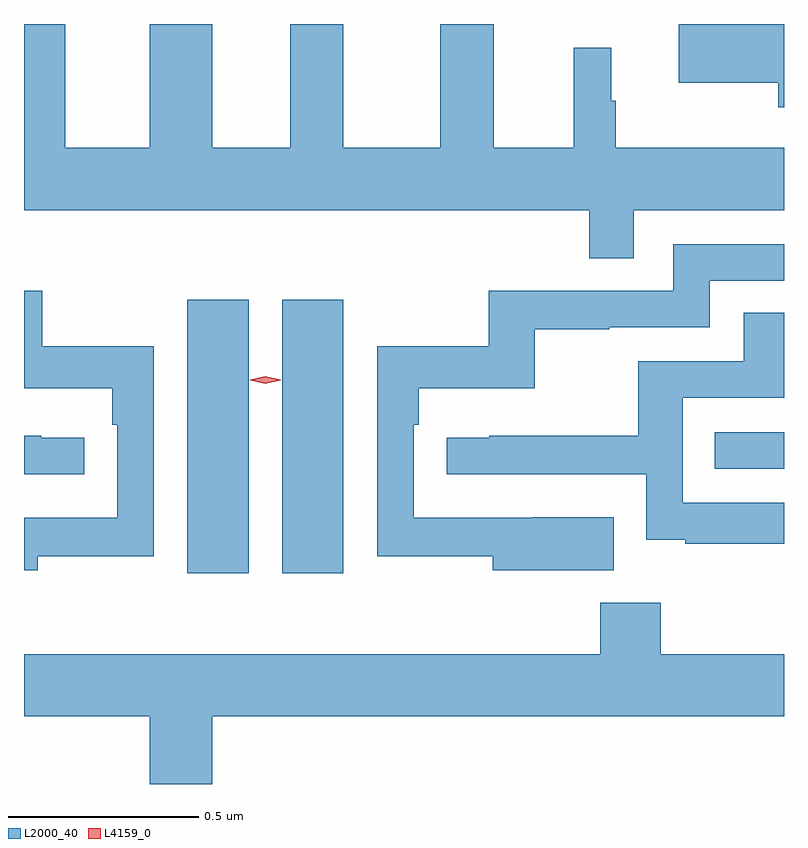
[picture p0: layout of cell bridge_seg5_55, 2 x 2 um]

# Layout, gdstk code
import gdstk
lib = gdstk.Library(unit=1e-6, precision=1e-09)
def R(c, l, rs):  # rectangles x0, y0, x1, y1
    for r in rs: c.add(gdstk.rectangle(r[:2], r[2:], *l))
def P(c, l, *ps):  # polygons
    for p in ps: c.add(gdstk.Polygon(p, *l))
L2000_40 = (2000, 40)
L4159_0 = (4159, 0)

bridge_seg5_55 = lib.new_cell('bridge_seg5_55')
R(bridge_seg5_55, L2000_40, [(836.435,835.824,836.596,836.545), (836.684,835.824,836.845,836.545), (837.823,836.1,838.005,836.196)])
P(bridge_seg5_55, L2000_40, [(837.609,836.78),(838.005,836.78),(838.005,836.944),(837.562,836.944),(837.562,837.068),(837.55,837.068),(837.55,837.208),(837.452,837.208),(837.452,836.944),(837.241,836.944),(837.241,837.27),(837.101,837.27),(837.101,836.944),(836.845,836.944),(836.845,837.27),(836.705,837.27),(836.705,836.944),(836.5,836.944),(836.5,837.27),(836.336,837.27),(836.336,836.944),(836.113,836.944),(836.113,837.27),(836.005,837.27),(836.005,836.78),(837.493,836.78),(837.493,836.653),(837.609,836.653)],
  [(838.005,837.27),(837.728,837.27),(837.728,837.116),(837.99,837.116),(837.99,837.051),(838.005,837.051)],
  [(837.557,835.972),(837.343,835.972),(837.343,835.971),(837.03,835.971),(837.03,836.216),(837.044,836.216),(837.044,836.312),(837.349,836.312),(837.349,836.467),(837.545,836.467),(837.545,836.472),(837.81,836.472),(837.81,836.595),(838.005,836.595),(838.005,836.691),(837.714,836.691),(837.714,836.568),(837.228,836.568),(837.228,836.422),(836.934,836.422),(836.934,835.87),(837.239,835.87),(837.239,835.832),(837.557,835.832)],
  [(836.041,835.87),(836.346,835.87),(836.346,836.422),(836.053,836.422),(836.053,836.568),(836.005,836.568),(836.005,836.312),(836.237,836.312),(836.237,836.216),(836.25,836.216),(836.25,835.971),(836.005,835.971),(836.005,835.832),(836.041,835.832)],
  [(838.005,836.01),(837.738,836.01),(837.738,836.286),(838.005,836.286),(838.005,836.51),(837.899,836.51),(837.899,836.382),(837.622,836.382),(837.622,836.186),(837.229,836.186),(837.229,836.181),(837.117,836.181),(837.117,836.085),(837.642,836.085),(837.642,835.913),(837.745,835.913),(837.745,835.902),(838.005,835.902)],
  [(836.164,836.181),(836.051,836.181),(836.051,836.186),(836.005,836.186),(836.005,836.085),(836.164,836.085)],
  [(836.5,835.448),(838.005,835.448),(838.005,835.612),(837.681,835.612),(837.681,835.747),(837.521,835.747),(837.521,835.612),(836.005,835.612),(836.005,835.448),(836.336,835.448),(836.336,835.27),(836.5,835.27)])
P(bridge_seg5_55, L4159_0, [(836.64,836.323),(836.6,836.333),(836.6,836.333),(836.6,836.334),(836.64,836.343),(836.68,836.334),(836.68,836.333),(836.68,836.333)])

lib.write_gds('bridge_seg5_55.gds')
